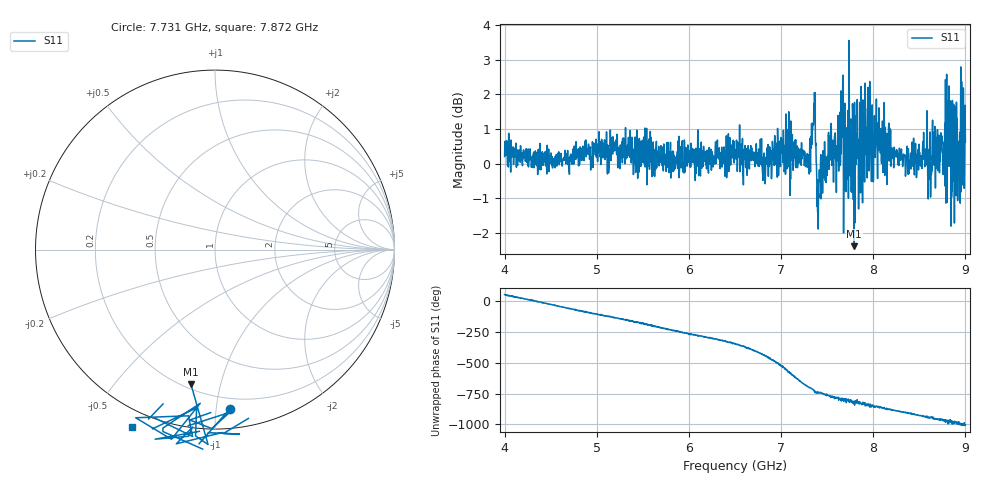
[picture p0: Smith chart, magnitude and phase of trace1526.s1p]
! Created with skrf 1.8.0 (http://scikit-rf.org).
# Hz S RI R 50.0
!freq ReS11 ImS11
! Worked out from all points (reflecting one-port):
!   1601 points, 4 GHz to 9 GHz, reference 50 ohm
!   lowest |S11| = -2.4 dB at 7.794 GHz (marker M1), VSWR 7.33, Z = 11.4 - j40.5 ohm
!   phase of S11 starts at 51 deg and turns -1054 deg over the sweep
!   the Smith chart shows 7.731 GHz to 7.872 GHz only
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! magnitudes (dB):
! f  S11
! 4 GHz  0.2
! 4.625 GHz  -0.1
! 5.25 GHz  -0.1
! 5.875 GHz  0.4
! 6.5 GHz  0.3
! 6.816 GHz  0.3
! 7.125 GHz  0.1
! 7.294 GHz  -0.1
! 7.347 GHz  1.1
! 7.409 GHz  -1.0
! 7.528 GHz  0.5
! 7.619 GHz  1.4
! 7.65 GHz  2.1
! 7.703 GHz  -0.8
! 7.75 GHz  0.2
! 7.794 GHz  -2.4
! 7.875 GHz  -0.4
! 7.928 GHz  0.6
! 7.997 GHz  0.8
! 8.375 GHz  0.0
! 8.562 GHz  0.1
! 8.612 GHz  0.1
! 8.666 GHz  0.2
! 8.766 GHz  0.6
! 8.816 GHz  -0.1
! 8.869 GHz  -0.5
! 8.884 GHz  1.7
! 9 GHz  0.6
